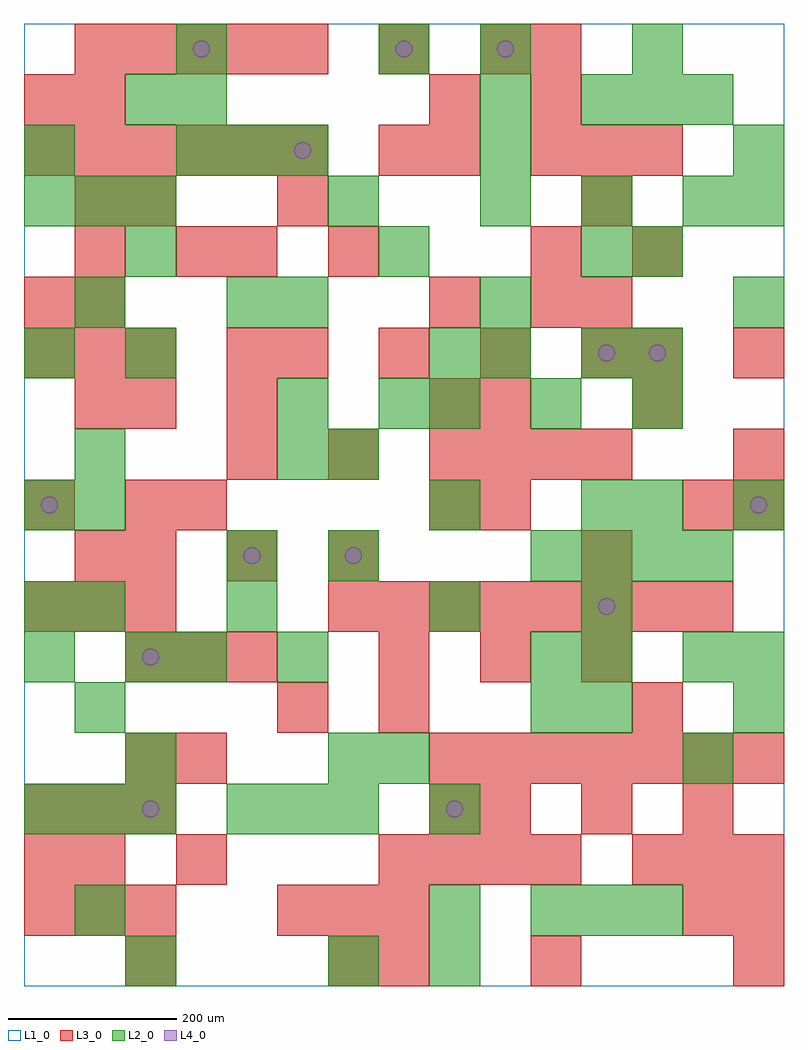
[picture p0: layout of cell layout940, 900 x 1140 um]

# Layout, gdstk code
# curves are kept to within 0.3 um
import gdstk
lib = gdstk.Library(unit=1e-6, precision=1e-09)
def R(c, l, rs):  # rectangles x0, y0, x1, y1
    for r in rs: c.add(gdstk.rectangle(r[:2], r[2:], *l))
def A(c, l, x, y, w, h, nx, ny, dx, dy):  # array of equal rectangles
    R(c, l, [(x+i*dx, y+j*dy, x+i*dx+w, y+j*dy+h) for i in range(nx) for j in range(ny)])
def P(c, l, *ps):  # polygons
    for p in ps: c.add(gdstk.Polygon(p, *l))
L1_0 = (1, 0)
L2_0 = (2, 0)
L3_0 = (3, 0)
L4_0 = (4, 0)

layout940 = lib.new_cell('layout940')
R(layout940, L1_0, [(0,0,900,1140)])
A(layout940, L2_0, 360, 0, 60, 60, 1, 3, 0, 240)
A(layout940, L2_0, 600, 60, 60, 60, 3, 1, 60, 0)
A(layout940, L2_0, 0, 180, 60, 60, 3, 2, 60, 720)
A(layout940, L2_0, 240, 180, 60, 60, 3, 1, 60, 0)
A(layout940, L2_0, 60, 300, 60, 60, 1, 3, 0, 120)
A(layout940, L2_0, 660, 300, 60, 60, 1, 3, 0, 60)
A(layout940, L2_0, 600, 480, 60, 60, 4, 1, 60, 0)
A(layout940, L2_0, 480, 660, 60, 60, 3, 1, 120, 0)
A(layout940, L2_0, 540, 900, 60, 60, 3, 1, 120, 0)
A(layout940, L2_0, 180, 960, 60, 60, 3, 1, 60, 0)
A(layout940, L2_0, 540, 960, 60, 60, 1, 3, 0, 60)
A(layout940, L2_0, 660, 1020, 60, 60, 3, 1, 60, 0)
R(layout940, L2_0, [(120,0,180,60), (480,0,540,60), (60,60,120,120), (480,60,540,120), (480,180,540,240), (120,240,180,300), (420,240,480,300), (780,240,840,300), (600,300,660,360), (840,300,900,360), (0,360,60,420), (120,360,180,420), (180,360,240,420), (300,360,360,420), (600,360,660,420), (780,360,840,420), (840,360,900,420), (0,420,60,480), (240,420,300,480), (480,420,540,480), (240,480,300,540), (0,540,60,600), (480,540,540,600), (660,540,720,600), (720,540,780,600), (840,540,900,600), (60,600,120,660), (300,600,360,660), (360,600,420,660), (300,660,360,720), (420,660,480,720), (0,720,60,780), (120,720,180,780), (480,720,540,780), (540,720,600,780), (660,720,720,780), (720,720,780,780), (60,780,120,840), (240,780,300,840), (300,780,360,840), (540,780,600,840), (840,780,900,840), (120,840,180,900), (420,840,480,900), (660,840,720,900), (720,840,780,900), (360,900,420,960), (840,900,900,960), (0,960,60,1020), (840,960,900,1020), (120,1020,180,1080), (180,1020,240,1080), (180,1080,240,1140), (420,1080,480,1140), (720,1080,780,1140)])
A(layout940, L3_0, 0, 60, 60, 60, 3, 2, 60, 120)
A(layout940, L3_0, 300, 60, 60, 60, 3, 1, 60, 0)
A(layout940, L3_0, 420, 120, 60, 60, 4, 1, 60, 0)
A(layout940, L3_0, 720, 120, 60, 60, 3, 1, 60, 0)
A(layout940, L3_0, 540, 180, 60, 60, 3, 1, 120, 0)
A(layout940, L3_0, 180, 240, 60, 60, 1, 3, 0, 300)
A(layout940, L3_0, 480, 240, 60, 60, 7, 1, 60, 0)
A(layout940, L3_0, 120, 360, 60, 60, 3, 1, 60, 0)
A(layout940, L3_0, 420, 360, 60, 60, 3, 1, 120, 0)
A(layout940, L3_0, 0, 420, 60, 60, 3, 2, 60, 300)
A(layout940, L3_0, 360, 420, 60, 60, 8, 1, 60, 0)
A(layout940, L3_0, 120, 480, 60, 60, 3, 1, 120, 0)
A(layout940, L3_0, 0, 540, 60, 60, 1, 3, 0, 240)
A(layout940, L3_0, 480, 540, 60, 60, 1, 3, 0, 120)
A(layout940, L3_0, 240, 600, 60, 60, 3, 1, 120, 0)
A(layout940, L3_0, 540, 600, 60, 60, 3, 1, 60, 0)
A(layout940, L3_0, 300, 720, 60, 60, 4, 1, 120, 0)
A(layout940, L3_0, 60, 780, 60, 60, 1, 3, 0, 60)
A(layout940, L3_0, 0, 960, 60, 60, 6, 1, 60, 0)
A(layout940, L3_0, 600, 960, 60, 60, 3, 1, 60, 0)
A(layout940, L3_0, 60, 1080, 60, 60, 5, 1, 60, 0)
R(layout940, L3_0, [(120,0,180,60), (360,0,420,60), (420,0,480,60), (600,0,660,60), (840,0,900,60), (780,60,840,120), (840,60,900,120), (0,120,60,180), (60,120,120,180), (180,120,240,180), (480,180,540,240), (120,240,180,300), (300,300,360,360), (420,300,480,360), (720,300,780,360), (60,480,120,540), (660,480,720,540), (120,540,180,600), (540,540,600,600), (780,540,840,600), (840,540,900,600), (840,600,900,660), (60,660,120,720), (120,660,180,720), (240,660,300,720), (540,660,600,720), (720,660,780,720), (240,720,300,780), (720,720,780,780), (840,720,900,780), (600,780,660,840), (660,780,720,840), (240,840,300,900), (360,840,420,900), (600,840,660,900), (720,840,780,900), (120,900,180,960), (300,900,360,960), (660,900,720,960), (420,960,480,1020), (480,960,540,1020), (60,1020,120,1080), (480,1020,540,1080), (600,1020,660,1080), (420,1080,480,1140), (540,1080,600,1140), (600,1080,660,1140)])
P(layout940, L4_0, [(40,570),(39.239,573.827),(37.071,577.071),(33.827,579.239),(30,580),(26.173,579.239),(22.929,577.071),(20.761,573.827),(20,570),(20.761,566.173),(22.929,562.929),(26.173,560.761),(30,560),(33.827,560.761),(37.071,562.929),(39.239,566.173)],
  [(160,210),(159.239,213.827),(157.071,217.071),(153.827,219.239),(150,220),(146.173,219.239),(142.929,217.071),(140.761,213.827),(140,210),(140.761,206.173),(142.929,202.929),(146.173,200.761),(150,200),(153.827,200.761),(157.071,202.929),(159.239,206.173)],
  [(160,390),(159.239,393.827),(157.071,397.071),(153.827,399.239),(150,400),(146.173,399.239),(142.929,397.071),(140.761,393.827),(140,390),(140.761,386.173),(142.929,382.929),(146.173,380.761),(150,380),(153.827,380.761),(157.071,382.929),(159.239,386.173)],
  [(220,1110),(219.239,1113.827),(217.071,1117.071),(213.827,1119.239),(210,1120),(206.173,1119.239),(202.929,1117.071),(200.761,1113.827),(200,1110),(200.761,1106.173),(202.929,1102.929),(206.173,1100.761),(210,1100),(213.827,1100.761),(217.071,1102.929),(219.239,1106.173)],
  [(280,510),(279.239,513.827),(277.071,517.071),(273.827,519.239),(270,520),(266.173,519.239),(262.929,517.071),(260.761,513.827),(260,510),(260.761,506.173),(262.929,502.929),(266.173,500.761),(270,500),(273.827,500.761),(277.071,502.929),(279.239,506.173)],
  [(340,990),(339.239,993.827),(337.071,997.071),(333.827,999.239),(330,1000),(326.173,999.239),(322.929,997.071),(320.761,993.827),(320,990),(320.761,986.173),(322.929,982.929),(326.173,980.761),(330,980),(333.827,980.761),(337.071,982.929),(339.239,986.173)],
  [(400,510),(399.239,513.827),(397.071,517.071),(393.827,519.239),(390,520),(386.173,519.239),(382.929,517.071),(380.761,513.827),(380,510),(380.761,506.173),(382.929,502.929),(386.173,500.761),(390,500),(393.827,500.761),(397.071,502.929),(399.239,506.173)],
  [(460,1110),(459.239,1113.827),(457.071,1117.071),(453.827,1119.239),(450,1120),(446.173,1119.239),(442.929,1117.071),(440.761,1113.827),(440,1110),(440.761,1106.173),(442.929,1102.929),(446.173,1100.761),(450,1100),(453.827,1100.761),(457.071,1102.929),(459.239,1106.173)],
  [(520,210),(519.239,213.827),(517.071,217.071),(513.827,219.239),(510,220),(506.173,219.239),(502.929,217.071),(500.761,213.827),(500,210),(500.761,206.173),(502.929,202.929),(506.173,200.761),(510,200),(513.827,200.761),(517.071,202.929),(519.239,206.173)],
  [(580,1110),(579.239,1113.827),(577.071,1117.071),(573.827,1119.239),(570,1120),(566.173,1119.239),(562.929,1117.071),(560.761,1113.827),(560,1110),(560.761,1106.173),(562.929,1102.929),(566.173,1100.761),(570,1100),(573.827,1100.761),(577.071,1102.929),(579.239,1106.173)],
  [(700,450),(699.239,453.827),(697.071,457.071),(693.827,459.239),(690,460),(686.173,459.239),(682.929,457.071),(680.761,453.827),(680,450),(680.761,446.173),(682.929,442.929),(686.173,440.761),(690,440),(693.827,440.761),(697.071,442.929),(699.239,446.173)],
  [(700,750),(699.239,753.827),(697.071,757.071),(693.827,759.239),(690,760),(686.173,759.239),(682.929,757.071),(680.761,753.827),(680,750),(680.761,746.173),(682.929,742.929),(686.173,740.761),(690,740),(693.827,740.761),(697.071,742.929),(699.239,746.173)],
  [(760,750),(759.239,753.827),(757.071,757.071),(753.827,759.239),(750,760),(746.173,759.239),(742.929,757.071),(740.761,753.827),(740,750),(740.761,746.173),(742.929,742.929),(746.173,740.761),(750,740),(753.827,740.761),(757.071,742.929),(759.239,746.173)],
  [(880,570),(879.239,573.827),(877.071,577.071),(873.827,579.239),(870,580),(866.173,579.239),(862.929,577.071),(860.761,573.827),(860,570),(860.761,566.173),(862.929,562.929),(866.173,560.761),(870,560),(873.827,560.761),(877.071,562.929),(879.239,566.173)])

lib.write_gds('layout940.gds')
